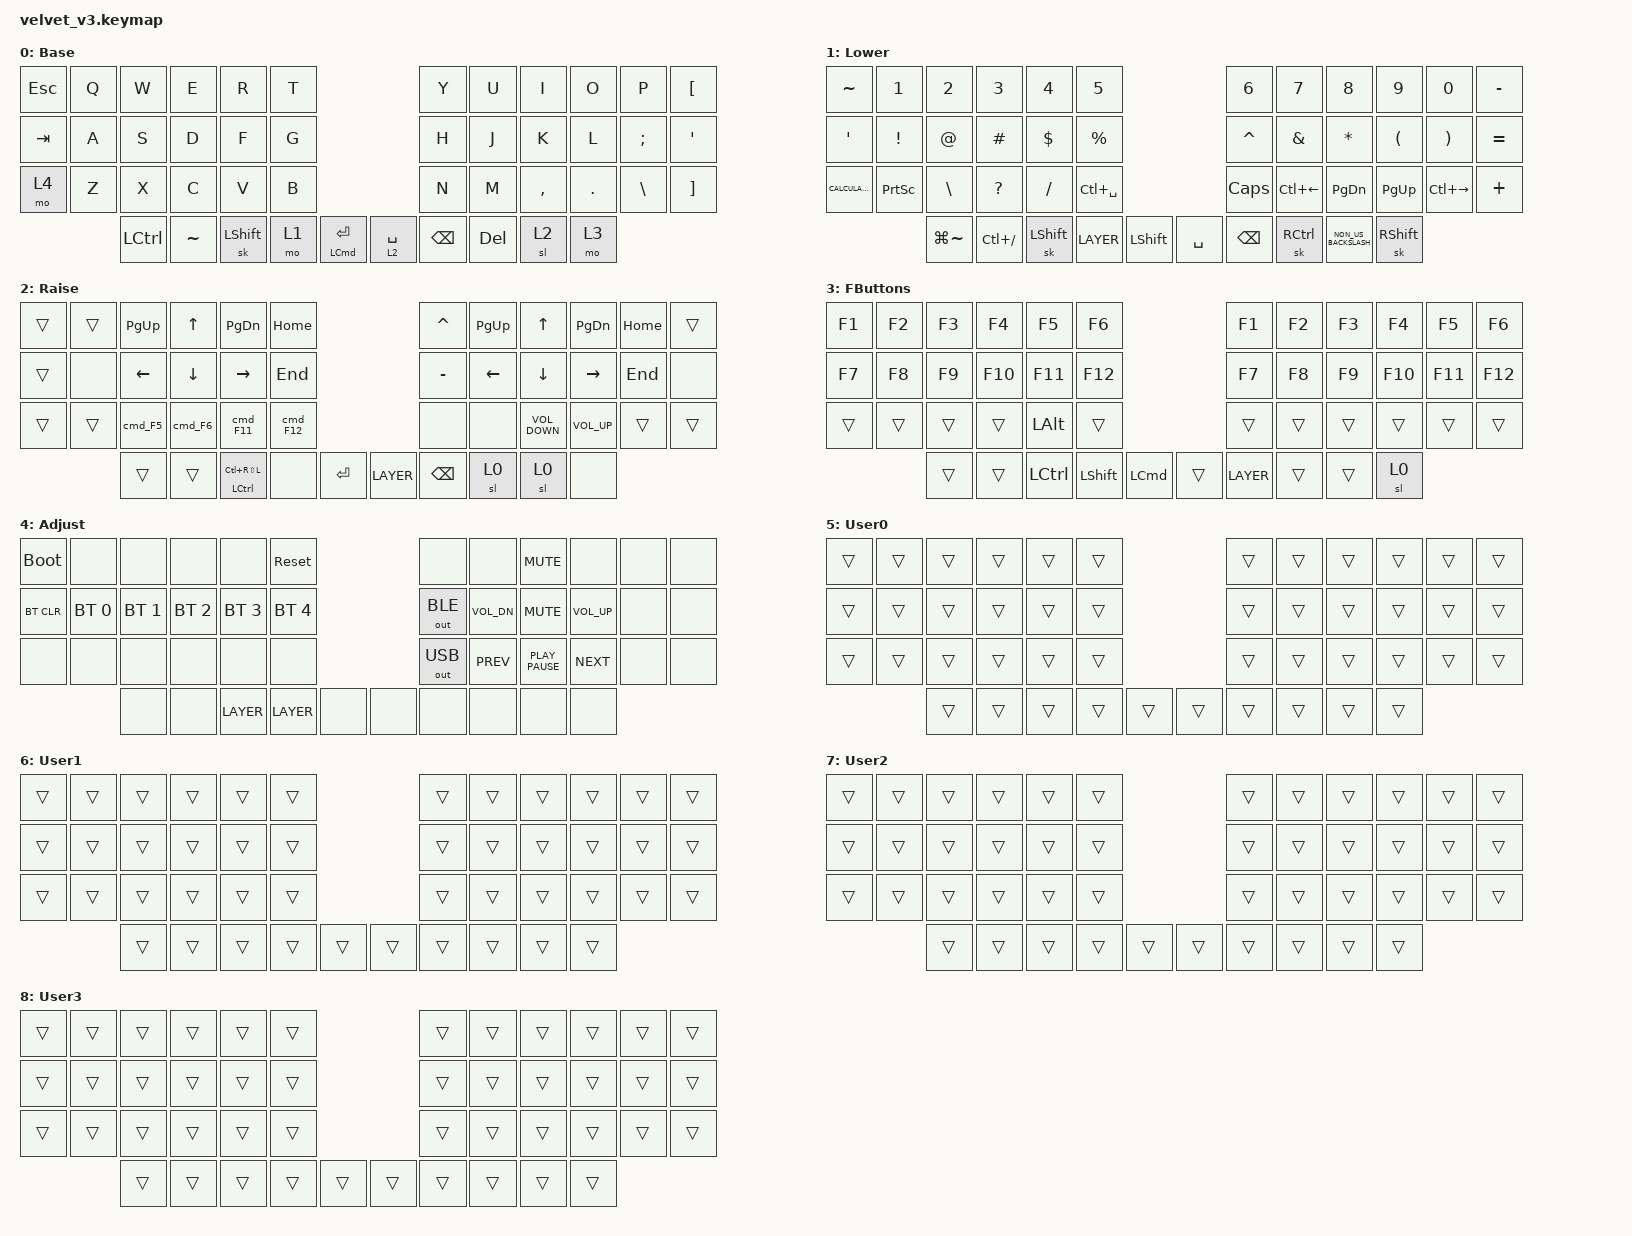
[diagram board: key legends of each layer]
#include "keys_ru.h"
#include <behaviors.dtsi>
#include <dt-bindings/zmk/bt.h>
#include <dt-bindings/zmk/keys.h>
#include <dt-bindings/zmk/outputs.h>

&mt { tapping-term-ms = <400>; };

/ {
    combos {
        compatible = "zmk,combos";

        plus {
            bindings = <&kp PLUS>;
            key-positions = <2 3>;
        };

        minus {
            bindings = <&kp MINUS>;
            key-positions = <3 4>;
        };

        LeftParenthesis {
            bindings = <&kp LEFT_PARENTHESIS>;
            key-positions = <4 5>;
        };

        RightParenthesis {
            bindings = <&kp RIGHT_PARENTHESIS>;
            key-positions = <6 7>;
        };

        underscore {
            bindings = <&kp UNDERSCORE>;
            key-positions = <7 8>;
        };

        pipe {
            bindings = <&kp PIPE>;
            key-positions = <8 9>;
        };

        tilde {
            bindings = <&kp TILDE>;
            key-positions = <26 27>;
        };

        grave {
            bindings = <&kp GRAVE>;
            key-positions = <2 1>;
        };

        LeftBra {
            bindings = <&kp LEFT_BRACKET>;
            key-positions = <16 17>;
        };

        RightBra {
            bindings = <&kp RIGHT_BRACKET>;
            key-positions = <18 19>;
        };

        DoubleQuotes {
            bindings = <&kp DOUBLE_QUOTES>;
            key-positions = <28 27>;
        };

        Apostrophe {
            bindings = <&kp SQT>;
            key-positions = <31 32>;
        };

        LeftBrace {
            bindings = <&kp LEFT_BRACE>;
            key-positions = <28 29>;
        };

        RightBrace {
            bindings = <&kp RIGHT_BRACE>;
            key-positions = <30 31>;
        };

        ctrl_l {
            bindings = <&kp LCTRL>;
            key-positions = <14 15>;
        };

        ctrl {
            bindings = <&kp RCTRL>;
            key-positions = <20 21>;
        };

        command_l {
            bindings = <&kp LEFT_COMMAND>;
            key-positions = <36 37>;
        };

        command {
            bindings = <&kp LEFT_COMMAND>;
            key-positions = <45 44>;
        };

        alt {
            bindings = <&kp RIGHT_ALT>;
            key-positions = <21 22>;
        };

        alt_l {
            bindings = <&kp LEFT_ALT>;
            key-positions = <14 13>;
        };

        ctrl+shiftl {
            bindings = <&kp LC(LEFT_SHIFT)>;
            key-positions = <16 15 14>;
        };

        ctrl+shiftr {
            bindings = <&kp RC(RIGHT_SHIFT)>;
            key-positions = <19 20 21>;
        };

        alt+ctrlr {
            bindings = <&kp RA(RCTRL)>;
            key-positions = <20 21 22>;
        };

        alt+ctrll {
            bindings = <&kp LA(LCTRL)>;
            key-positions = <15 14 13>;
        };
    };

    macros {
        cmd_F5: cmd_F5 {
            compatible = "zmk,behavior-macro";
            #binding-cells = <0>;
            bindings = <&kp LEFT_GUI &kp F5>;
            label = "CMD_F5";
        };

        cmd_F6: cmd_F6 {
            compatible = "zmk,behavior-macro";
            #binding-cells = <0>;
            bindings = <&kp LEFT_GUI &kp F6>;
            label = "CMD_F6";
        };

        cmd_F11: cmd_F11 {
            compatible = "zmk,behavior-macro";
            #binding-cells = <0>;
            bindings = <&kp LEFT_GUI &kp F11>;
            label = "CMD_F11";
        };

        cmd_F12: cmd_F12 {
            compatible = "zmk,behavior-macro";
            #binding-cells = <0>;
            bindings = <&kp LEFT_GUI &kp F12>;
            label = "CMD_F12";
        };

        LAYER: LAYER {
            compatible = "zmk,behavior-macro";
            #binding-cells = <0>;
            bindings = <&none>;
            label = "LAYER";
        };

        CMD_GUI: CMD_GUI {
            compatible = "zmk,behavior-macro";
            #binding-cells = <0>;
            bindings = <&kp LEFT_GUI &kp TILDE>;
            label = "CMD_GUI";
        };
    };

    keymap {
        compatible = "zmk,keymap";

        base {
            bindings = <
&kp ESC  &kp Q  &kp W      &kp E      &kp R           &kp T                                 &kp Y          &kp U       &kp I      &kp O    &kp P          &kp LEFT_BRACKET
&kp TAB  &kp A  &kp S      &kp D      &kp F           &kp G                                 &kp H          &kp J       &kp K      &kp L    &kp SEMI       &kp SINGLE_QUOTE
&mo 4    &kp Z  &kp X      &kp C      &kp V           &kp B                                 &kp N          &kp M       &kp COMMA  &kp DOT  &kp BACKSLASH  &kp RIGHT_BRACKET
                &kp LCTRL  &kp TILDE  &sk LEFT_SHIFT  &mo 1  &mt LCMD ENTER    &lt 2 SPACE  &kp BACKSPACE  &kp DELETE  &sl 2      &mo 3
            >;

            display-name = "Base";
        };

        lower {
            bindings = <
&kp TILDE         &kp N1           &kp N2         &kp N3         &kp N4          &kp N5                                      &kp N6         &kp N7         &kp N8                &kp N9                &kp N0                 &kp MINUS
&kp SQT           &kp EXCLAMATION  &kp AT_SIGN    &kp HASH       &kp DOLLAR      &kp PERCENT                                 &kp CARET      &kp AMPERSAND  &kp ASTERISK          &kp LEFT_PARENTHESIS  &kp RIGHT_PARENTHESIS  &kp EQUAL
&kp K_CALCULATOR  &kp PRINTSCREEN  &kp BACKSLASH  &kp QUESTION   &kp SLASH       &kp LC(SPACE)                               &kp CLCK       &kp LC(LEFT)   &kp PAGE_DOWN         &kp PAGE_UP           &kp LC(RIGHT)          &kp PLUS
                                   &kp LG(TILDE)  &kp LC(SLASH)  &sk LEFT_SHIFT  &LAYER         &kp LEFT_SHIFT    &kp SPACE  &kp BACKSPACE  &sk RCTRL      &kp NON_US_BACKSLASH  &sk RIGHT_SHIFT
            >;

            display-name = "Lower";
        };

        raise {
            bindings = <
&trans  &trans  &kp PAGE_UP     &kp UP_ARROW    &kp PAGE_DOWN               &kp HOME                       &kp CARET      &kp PAGE_UP  &kp UP_ARROW       &kp PAGE_DOWN    &kp HOME  &trans
&trans  &none   &kp LEFT_ARROW  &kp DOWN_ARROW  &kp RIGHT_ARROW             &kp END                        &kp MINUS      &kp LEFT     &kp DOWN           &kp RIGHT        &kp END   &none
&trans  &trans  &cmd_F5         &cmd_F6         &cmd_F11                    &cmd_F12                       &none          &none        &kp C_VOLUME_DOWN  &kp C_VOLUME_UP  &trans    &trans
                &trans          &trans          &mt LEFT_CONTROL LC(RS(L))  &none     &kp ENTER    &LAYER  &kp BACKSPACE  &sl 0        &sl 0              &none
            >;

            display-name = "Raise";
        };

        fbuttons {
            bindings = <
&kp F1  &kp F2  &kp F3  &kp F4   &kp F5        &kp F6                                      &kp F1  &kp F2  &kp F3  &kp F4   &kp F5   &kp F6
&kp F7  &kp F8  &kp F9  &kp F10  &kp F11       &kp F12                                     &kp F7  &kp F8  &kp F9  &kp F10  &kp F11  &kp F12
&trans  &trans  &trans  &trans   &kp LEFT_ALT  &trans                                      &trans  &trans  &trans  &trans   &trans   &trans
                &trans  &trans   &kp LCTRL     &kp LEFT_SHIFT  &kp LEFT_COMMAND    &trans  &LAYER  &trans  &trans  &sl 0
            >;

            display-name = "FButtons";
        };

        adj {
            bindings = <
&bootloader  &none         &none         &none         &none         &sys_reset                    &none         &none         &kp C_MUTE        &none         &none  &none
&bt BT_CLR   &bt BT_SEL 0  &bt BT_SEL 1  &bt BT_SEL 2  &bt BT_SEL 3  &bt BT_SEL 4                  &out OUT_BLE  &kp C_VOL_DN  &kp K_MUTE        &kp C_VOL_UP  &none  &none
&none        &none         &none         &none         &none         &none                         &out OUT_USB  &kp K_PREV    &kp K_PLAY_PAUSE  &kp K_NEXT    &none  &none
                           &none         &none         &LAYER        &LAYER        &none    &none  &none         &none         &none             &none
            >;

            display-name = "Adjust";
        };

        User0 {
            bindings = <
&trans  &trans  &trans  &trans  &trans  &trans                    &trans  &trans  &trans  &trans  &trans  &trans
&trans  &trans  &trans  &trans  &trans  &trans                    &trans  &trans  &trans  &trans  &trans  &trans
&trans  &trans  &trans  &trans  &trans  &trans                    &trans  &trans  &trans  &trans  &trans  &trans
                &trans  &trans  &trans  &trans  &trans    &trans  &trans  &trans  &trans  &trans
            >;

            display-name = "User0";
        };

        User1 {
            bindings = <
&trans  &trans  &trans  &trans  &trans  &trans                    &trans  &trans  &trans  &trans  &trans  &trans
&trans  &trans  &trans  &trans  &trans  &trans                    &trans  &trans  &trans  &trans  &trans  &trans
&trans  &trans  &trans  &trans  &trans  &trans                    &trans  &trans  &trans  &trans  &trans  &trans
                &trans  &trans  &trans  &trans  &trans    &trans  &trans  &trans  &trans  &trans
            >;

            display-name = "User1";
        };

        User2 {
            bindings = <
&trans  &trans  &trans  &trans  &trans  &trans                    &trans  &trans  &trans  &trans  &trans  &trans
&trans  &trans  &trans  &trans  &trans  &trans                    &trans  &trans  &trans  &trans  &trans  &trans
&trans  &trans  &trans  &trans  &trans  &trans                    &trans  &trans  &trans  &trans  &trans  &trans
                &trans  &trans  &trans  &trans  &trans    &trans  &trans  &trans  &trans  &trans
            >;

            display-name = "User2";
        };

        User3 {
            bindings = <
&trans  &trans  &trans  &trans  &trans  &trans                    &trans  &trans  &trans  &trans  &trans  &trans
&trans  &trans  &trans  &trans  &trans  &trans                    &trans  &trans  &trans  &trans  &trans  &trans
&trans  &trans  &trans  &trans  &trans  &trans                    &trans  &trans  &trans  &trans  &trans  &trans
                &trans  &trans  &trans  &trans  &trans    &trans  &trans  &trans  &trans  &trans
            >;

            display-name = "User3";
        };
    };
};
